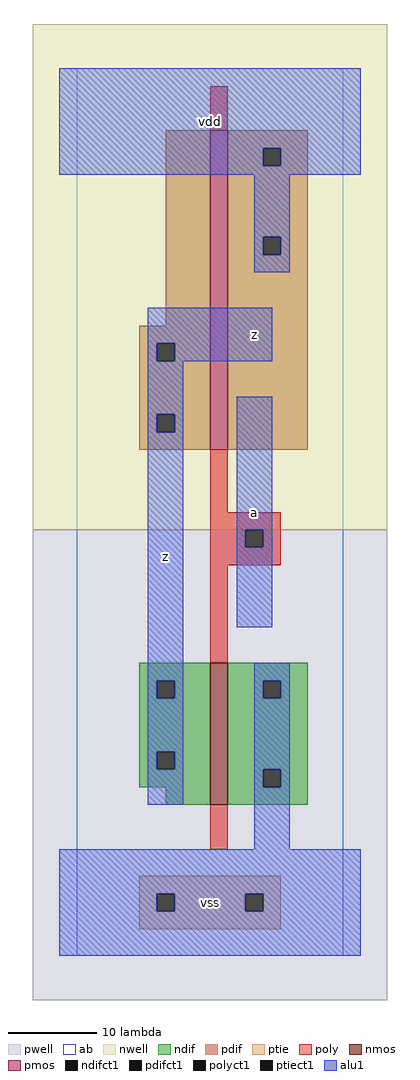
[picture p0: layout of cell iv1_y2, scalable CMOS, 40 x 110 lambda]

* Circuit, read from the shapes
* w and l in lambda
.subckt iv1_y2 a vdd vss z
M1 vss a z vss nfet w=16 l=2
M2 vdd a z n1 pfet w=36 l=2
.ends

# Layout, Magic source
magic
tech scmos
<< ab >>
rect 0 0 30 100
<< nwell >>
rect -5 48 35 105
<< pwell >>
rect -5 -5 35 48
<< poly >>
rect 15 93 17 98
rect 15 50 17 57
rect 15 48 23 50
rect 15 46 19 48
rect 21 46 23 48
rect 15 44 23 46
rect 15 33 17 44
rect 15 12 17 17
<< ndif >>
rect 7 31 15 33
rect 7 29 9 31
rect 11 29 15 31
rect 7 23 15 29
rect 7 21 9 23
rect 11 21 15 23
rect 7 19 15 21
rect 10 17 15 19
rect 17 31 26 33
rect 17 29 21 31
rect 23 29 26 31
rect 17 21 26 29
rect 17 19 21 21
rect 23 19 26 21
rect 17 17 26 19
<< pdif >>
rect 10 71 15 93
rect 7 69 15 71
rect 7 67 9 69
rect 11 67 15 69
rect 7 61 15 67
rect 7 59 9 61
rect 11 59 15 61
rect 7 57 15 59
rect 17 91 26 93
rect 17 89 21 91
rect 23 89 26 91
rect 17 81 26 89
rect 17 79 21 81
rect 23 79 26 81
rect 17 57 26 79
<< alu1 >>
rect -2 91 32 100
rect -2 89 21 91
rect 23 89 32 91
rect -2 88 32 89
rect 20 81 24 88
rect 20 79 21 81
rect 23 79 24 81
rect 20 77 24 79
rect 8 69 22 73
rect 8 67 9 69
rect 11 67 22 69
rect 8 61 12 67
rect 8 59 9 61
rect 11 59 12 61
rect 8 31 12 59
rect 18 48 22 63
rect 18 46 19 48
rect 21 46 22 48
rect 18 37 22 46
rect 8 29 9 31
rect 11 29 12 31
rect 8 23 12 29
rect 8 21 9 23
rect 11 21 12 23
rect 8 17 12 21
rect 20 31 24 33
rect 20 29 21 31
rect 23 29 24 31
rect 20 21 24 29
rect 20 19 21 21
rect 23 19 24 21
rect 20 12 24 19
rect -2 7 32 12
rect -2 5 9 7
rect 11 5 19 7
rect 21 5 32 7
rect -2 0 32 5
<< ptie >>
rect 7 7 23 9
rect 7 5 9 7
rect 11 5 19 7
rect 21 5 23 7
rect 7 3 23 5
<< nmos >>
rect 15 17 17 33
<< pmos >>
rect 15 57 17 93
<< polyct1 >>
rect 19 46 21 48
<< ndifct1 >>
rect 9 29 11 31
rect 9 21 11 23
rect 21 29 23 31
rect 21 19 23 21
<< ptiect1 >>
rect 9 5 11 7
rect 19 5 21 7
<< pdifct1 >>
rect 9 67 11 69
rect 9 59 11 61
rect 21 89 23 91
rect 21 79 23 81
<< labels >>
rlabel alu1 15 6 15 6 6 vss
rlabel alu1 10 45 10 45 6 z
rlabel alu1 15 94 15 94 6 vdd
rlabel alu1 20 50 20 50 6 a
rlabel alu1 20 70 20 70 6 z
<< end >>
